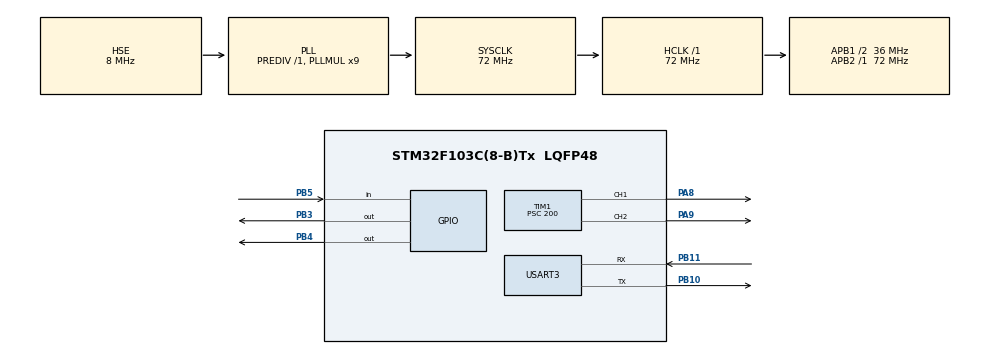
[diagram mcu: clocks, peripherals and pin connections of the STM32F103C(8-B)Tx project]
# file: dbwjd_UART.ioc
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Mcu.Family=STM32F1
Mcu.Name=STM32F103C(8-B)Tx
Mcu.Package=LQFP48
NVIC.PriorityGroup=NVIC_PRIORITYGROUP_4
NVIC.USART3_IRQn=true\:0\:0\:false\:true\:true\:1\:true\:true
PA13.Mode=Serial_Wire
PA13.Signal=SYS_JTMS-SWDIO
PA14.Mode=Serial_Wire
PA14.Signal=SYS_JTCK-SWCLK
PA8.Signal=S_TIM1_CH1
PA9.Signal=S_TIM1_CH2
PB10.Mode=Asynchronous
PB10.Signal=USART3_TX
PB11.Mode=Asynchronous
PB11.Signal=USART3_RX
PB3.Signal=GPIO_Output
PB4.Signal=GPIO_Output
PB5.Signal=GPIO_Input
PD0-OSC_IN.Mode=HSE-External-Oscillator
PD0-OSC_IN.Signal=RCC_OSC_IN
PD1-OSC_OUT.Mode=HSE-External-Oscillator
PD1-OSC_OUT.Signal=RCC_OSC_OUT
ProjectManager.HeapSize=0x200
ProjectManager.StackSize=0x400
ProjectManager.TargetToolchain=MDK-ARM V5.27
RCC.ADCPresc=RCC_ADCPCLK2_DIV6
RCC.AHBFreq_Value=72000000
RCC.APB1CLKDivider=RCC_HCLK_DIV2
RCC.APB1Freq_Value=36000000
RCC.APB1TimFreq_Value=72000000
RCC.APB2Freq_Value=72000000
RCC.APB2TimFreq_Value=72000000
RCC.HCLKFreq_Value=72000000
RCC.PLLMUL=RCC_PLL_MUL9
RCC.PLLSourceVirtual=RCC_PLLSOURCE_HSE
RCC.SYSCLKFreq_VALUE=72000000
RCC.SYSCLKSource=RCC_SYSCLKSOURCE_PLLCLK
RCC.USBFreq_Value=72000000
SH.S_TIM1_CH1.0=TIM1_CH1,PWM Generation1 CH1
SH.S_TIM1_CH2.0=TIM1_CH2,PWM Generation2 CH2
TIM1.Channel-PWM\ Generation1\ CH1=TIM_CHANNEL_1
TIM1.Channel-PWM\ Generation2\ CH2=TIM_CHANNEL_2
TIM1.OCMode_PWM-PWM\ Generation2\ CH2=TIM_OCMODE_PWM2
TIM1.Period=7200-1
TIM1.Prescaler=200
TIM1.Pulse-PWM\ Generation1\ CH1=360-1
TIM1.Pulse-PWM\ Generation2\ CH2=360-1
USART3.VirtualMode=VM_ASYNC
board=custom

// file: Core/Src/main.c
/* USER CODE BEGIN Header */
/**
  ******************************************************************************
  * @file           : main.c
  * @brief          : Main program body
  ******************************************************************************
  * @attention
  *
  * <h2><center>&copy; Copyright (c) 2021 STMicroelectronics.
  * All rights reserved.</center></h2>
  *
  * This software component is licensed by ST under BSD 3-Clause license,
  * the "License"; You may not use this file except in compliance with the
  * License. You may obtain a copy of the License at:
  *                        opensource.org/licenses/BSD-3-Clause
  *
  ******************************************************************************
  */
/* USER CODE END Header */
#include "main.h"
#include "tim.h"
#include "usart.h"
#include "gpio.h"

/* USER CODE BEGIN PV */
	uint8_t rx_data;
	uint8_t c[4] = {0, };
/* USER CODE END PV */

void SystemClock_Config(void);
static void MX_NVIC_Init(void);

int main(void)
{

  /* MCU Configuration--------------------------------------------------------*/

  /* Reset of all peripherals, Initializes the Flash interface and the Systick. */
  HAL_Init();

  /* Configure the system clock */
  SystemClock_Config();

  /* Initialize all configured peripherals */
  MX_GPIO_Init();
  MX_USART3_UART_Init();
  MX_TIM1_Init();

  /* Initialize interrupts */
  MX_NVIC_Init();
  /* USER CODE BEGIN 2 */
	HAL_UART_Receive_IT(&huart3, &rx_data, 1);	//UART
	HAL_TIM_PWM_Start(&htim1, TIM_CHANNEL_1);	//SERVO

  /* USER CODE END 2 */

  /* Infinite loop */
  /* USER CODE BEGIN WHILE */
  while (1)
  {
		if(c[0]==0x55)
		{
			if(c[1]==0x66)
			{
				if(c[2]==0xF5)//SERVO
				{
					if(c[3]==0x00)
					{
						TIM1->CCR1=720;	//ON
					}
					else if(c[3]==0x01)
					{
						TIM1->CCR1=0;	//OFF
						//IR
						GPIO_PinState pin_state = HAL_GPIO_ReadPin(GPIOB, GPIO_PIN_5);
						if(pin_state == GPIO_PIN_RESET)
						{
								HAL_TIM_PWM_Start(&htim1, TIM_CHANNEL_2);	//FAN START
						}
						else
						{
								HAL_TIM_PWM_Stop(&htim1, TIM_CHANNEL_2);	//FAN STOP
						}
					}
					else if(c[3]==0x02)
					{
						//QUESTION
					}
				}
				else if(c[2]==0xF4)//FAN
				{
					if(c[3]==0x00)
					{
						TIM1->CCR2=180;//SUNNY
					}
					else if(c[3]==0x01)
					{
						TIM1->CCR2=270;//CLOUDY
					}
					else if(c[3]==0x02)
					{
						TIM1->CCR2=540;//RAINY
					}
					else if(c[3]==0x03)
					{
						TIM1->CCR2=720;//SNOWY
					}
				}
			}
		}

    /* USER CODE END WHILE */

  }
}

void SystemClock_Config(void)
{
  RCC_OscInitTypeDef RCC_OscInitStruct = {0};
  RCC_ClkInitTypeDef RCC_ClkInitStruct = {0};

  /** Initializes the RCC Oscillators according to the specified parameters
  * in the RCC_OscInitTypeDef structure.
  */
  RCC_OscInitStruct.OscillatorType = RCC_OSCILLATORTYPE_HSE;
  RCC_OscInitStruct.HSEState = RCC_HSE_ON;
  RCC_OscInitStruct.HSEPredivValue = RCC_HSE_PREDIV_DIV1;
  RCC_OscInitStruct.HSIState = RCC_HSI_ON;
  RCC_OscInitStruct.PLL.PLLState = RCC_PLL_ON;
  RCC_OscInitStruct.PLL.PLLSource = RCC_PLLSOURCE_HSE;
  RCC_OscInitStruct.PLL.PLLMUL = RCC_PLL_MUL9;
  if (HAL_RCC_OscConfig(&RCC_OscInitStruct) != HAL_OK)
  {
    Error_Handler();
  }
  /** Initializes the CPU, AHB and APB buses clocks
  */
  RCC_ClkInitStruct.ClockType = RCC_CLOCKTYPE_HCLK|RCC_CLOCKTYPE_SYSCLK
                              |RCC_CLOCKTYPE_PCLK1|RCC_CLOCKTYPE_PCLK2;
  RCC_ClkInitStruct.SYSCLKSource = RCC_SYSCLKSOURCE_PLLCLK;
  RCC_ClkInitStruct.AHBCLKDivider = RCC_SYSCLK_DIV1;
  RCC_ClkInitStruct.APB1CLKDivider = RCC_HCLK_DIV2;
  RCC_ClkInitStruct.APB2CLKDivider = RCC_HCLK_DIV1;

  if (HAL_RCC_ClockConfig(&RCC_ClkInitStruct, FLASH_LATENCY_2) != HAL_OK)
  {
    Error_Handler();
  }
}

/**
  * @brief NVIC Configuration.
  * @retval None
  */
static void MX_NVIC_Init(void)
{
  /* USART3_IRQn interrupt configuration */
  HAL_NVIC_SetPriority(USART3_IRQn, 0, 0);
  HAL_NVIC_EnableIRQ(USART3_IRQn);
}

/* USER CODE BEGIN 4 */
void HAL_UART_RxCpltCallback(UART_HandleTypeDef *huart)
{
  if(huart->Instance==USART3)
	{
		c[0]=c[1];
		c[1]=c[2];
		c[2]=rx_data;
		HAL_UART_Receive_IT(&huart3,&rx_data,1);
	}
}
/* USER CODE END 4 */

void Error_Handler(void)
{
}

/************************ (C) COPYRIGHT STMicroelectronics *****END OF FILE****/
